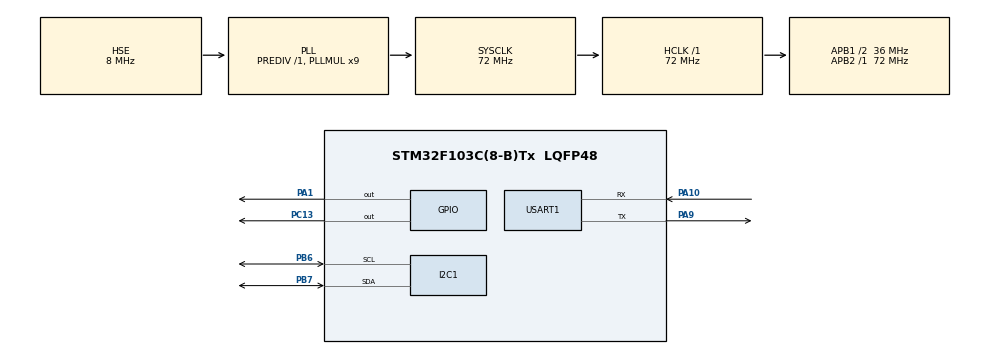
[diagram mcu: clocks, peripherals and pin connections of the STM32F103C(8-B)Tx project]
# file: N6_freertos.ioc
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Dma.Request0=USART1_RX
Dma.USART1_RX.0.Direction=DMA_PERIPH_TO_MEMORY
Dma.USART1_RX.0.Instance=DMA1_Channel5
Dma.USART1_RX.0.MemDataAlignment=DMA_MDATAALIGN_BYTE
Dma.USART1_RX.0.MemInc=DMA_MINC_ENABLE
Dma.USART1_RX.0.Mode=DMA_CIRCULAR
Dma.USART1_RX.0.PeriphDataAlignment=DMA_PDATAALIGN_BYTE
Dma.USART1_RX.0.PeriphInc=DMA_PINC_DISABLE
Dma.USART1_RX.0.Priority=DMA_PRIORITY_LOW
IWDG.Prescaler=IWDG_PRESCALER_64
IWDG.Reload=1250
Mcu.Family=STM32F1
Mcu.Name=STM32F103C(8-B)Tx
Mcu.Package=LQFP48
NVIC.DMA1_Channel5_IRQn=true\:5\:0\:true\:false\:true\:false\:true\:true
NVIC.PriorityGroup=NVIC_PRIORITYGROUP_4
NVIC.TIM4_IRQn=true\:15\:0\:false\:false\:true\:false\:true\:true
NVIC.TimeBase=TIM4_IRQn
NVIC.TimeBaseIP=TIM4
NVIC.USART1_IRQn=true\:6\:0\:true\:false\:true\:true\:true\:true
PA1.Signal=GPIO_Output
PA10.Mode=Asynchronous
PA10.Signal=USART1_RX
PA13.Mode=Serial_Wire
PA13.Signal=SYS_JTMS-SWDIO
PA14.Mode=Serial_Wire
PA14.Signal=SYS_JTCK-SWCLK
PA9.Mode=Asynchronous
PA9.Signal=USART1_TX
PB6.Mode=I2C
PB6.Signal=I2C1_SCL
PB7.Mode=I2C
PB7.Signal=I2C1_SDA
PC13-TAMPER-RTC.Signal=GPIO_Output
PD0-OSC_IN.Mode=HSE-External-Oscillator
PD0-OSC_IN.Signal=RCC_OSC_IN
PD1-OSC_OUT.Mode=HSE-External-Oscillator
PD1-OSC_OUT.Signal=RCC_OSC_OUT
ProjectManager.HeapSize=0x200
ProjectManager.StackSize=0x400
ProjectManager.TargetToolchain=CMake
RCC.AHBFreq_Value=72000000
RCC.APB1CLKDivider=RCC_HCLK_DIV2
RCC.APB1Freq_Value=36000000
RCC.APB1TimFreq_Value=72000000
RCC.APB2Freq_Value=72000000
RCC.APB2TimFreq_Value=72000000
RCC.HCLKFreq_Value=72000000
RCC.PLLMUL=RCC_PLL_MUL9
RCC.PLLSourceVirtual=RCC_PLLSOURCE_HSE
RCC.SYSCLKFreq_VALUE=72000000
RCC.SYSCLKSource=RCC_SYSCLKSOURCE_PLLCLK
RCC.USBFreq_Value=72000000
USART1.VirtualMode=VM_ASYNC
VP_IWDG_VS_IWDG.Mode=IWDG_Activate
VP_SYS_VS_tim4.Mode=TIM4
board=custom

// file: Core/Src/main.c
/* USER CODE BEGIN Header */
/**
  ******************************************************************************
  * @file           : main.c
  * @brief          : Main program body
  ******************************************************************************
  * @attention
  *
  * Copyright (c) 2026 STMicroelectronics.
  * All rights reserved.
  *
  * This software is licensed under terms that can be found in the LICENSE file
  * in the root directory of this software component.
  * If no LICENSE file comes with this software, it is provided AS-IS.
  *
  ******************************************************************************
  */
/* USER CODE END Header */
#include "main.h"
#include "dma.h"
#include "i2c.h"
#include "iwdg.h"
#include "usart.h"
#include "gpio.h"

/* USER CODE BEGIN Includes */
#include "FreeRTOS.h"
#include "task.h"
#include "queue.h"
#include "semphr.h"
#include "event_groups.h"
#include "bh1750.h"
#include "dht11.h"
#include "dwt_delay.h"
#include "stream_buffer.h"
#include "frame_parser.h"
#include "crc16.h"
#include <stdio.h>
#include <string.h>
/* USER CODE END Includes */

/* USER CODE BEGIN PTD */
typedef struct{
  uint8_t data[69];
  uint8_t len;
} TxFrame_t;

typedef struct {
  float temperature;
  float humidity;
  float lux;
  uint8_t lux_valid;
  uint8_t th_valid;
} SensorData_t;
/* USER CODE END PTD */

/* USER CODE BEGIN PD */
#define HEARTBEAT_MS  1000U
#define RX_STREAM_SIZE  64
#define RX_DMA_SIZE     64

/* N9-B 全员报到看门狗: 三个任务各占一 bit, 凑齐才喂狗 */
#define WDG_BIT_SAMPLE   (1u << 0)   /* vSampleReportTask 打卡 */
#define WDG_BIT_CMD      (1u << 1)   /* vCmdTask 打卡 */
#define WDG_BIT_TX       (1u << 2)   /* vTxTask 打卡 */
#define WDG_BIT_ALL      (WDG_BIT_SAMPLE | WDG_BIT_CMD | WDG_BIT_TX)
/* USER CODE END PD */

/* USER CODE BEGIN PV */
QueueHandle_t xTxQueue;
static SemaphoreHandle_t g_sensor_mutex;
static volatile uint32_t g_sample_period_ms = 5UL*60*1000;
static StreamBufferHandle_t g_rx_stream;
static uint8_t  g_rx_dma_buf[RX_DMA_SIZE];
static uint16_t g_rx_old_pos = 0;
static EventGroupHandle_t g_wdg_events;   /* N9-B 全员报到事件组 */

/* USER CODE END PV */

void SystemClock_Config(void);
/* USER CODE BEGIN PFP */
void vTxTask(void* pvParameters);
void vSampleReportTask(void *pv);
void vCmdTask(void *pv);

static uint8_t frame_build(uint8_t type, const uint8_t *payload, uint8_t payload_len, uint8_t *out);
static void sample_all(SensorData_t *out);
static void send_heartbeat(void);
static void report_frame(const SensorData_t *s);
static void send_resp(uint8_t type, const uint8_t *payload, uint8_t len, uint8_t seq);
static void on_frame(uint8_t type, const uint8_t *payload, uint8_t len);
/* USER CODE END PFP */

int main(void)
{

  /* MCU Configuration--------------------------------------------------------*/

  /* Reset of all peripherals, Initializes the Flash interface and the Systick. */
  HAL_Init();

  /* Configure the system clock */
  SystemClock_Config();

  /* Initialize all configured peripherals */
  MX_GPIO_Init();
  MX_DMA_Init();
  MX_USART1_UART_Init();
  MX_I2C1_Init();
  MX_IWDG_Init();
  /* USER CODE BEGIN 2 */
  /* 调试时冻结 IWDG 与 TIM4 计数, 避免暂停断点时被看门狗复位。
     F1 的 DBGMCU 属 Cortex-M3 调试域, 常通无 APB 时钟门, 故无需(也没有)
     __HAL_RCC_DBGMCU_CLK_ENABLE(); 两个 FREEZE 宏直接置位 DBGMCU->CR。 */
  __HAL_DBGMCU_FREEZE_IWDG();
  __HAL_DBGMCU_FREEZE_TIM4();

  /* 必须先开 DWT 周期计数器: delay_us() 与 dht11_wait_level() 的超时都靠 CYCCNT。
     不开则 CYCCNT 恒为 0, delay_us 死等、DHT11 超时永不触发 → DHT11_Read 在
     taskENTER_CRITICAL 临界区里死循环, SysTick 被屏蔽, 整个 RTOS 卡死, 串口零输出。 */
  DWT_Init();

  BH1750_Init();   /* 上电+设连续高分辨率模式(原来漏调,芯片处于不确定态) */

  xTxQueue = xQueueCreate(8, sizeof(TxFrame_t));
  if (xTxQueue == NULL) {Error_Handler();}

  g_sensor_mutex = xSemaphoreCreateMutex();
  if (g_sensor_mutex == NULL) { Error_Handler(); }

  g_rx_stream = xStreamBufferCreate(RX_STREAM_SIZE, 1);   // 水位 1: 来一字节就唤醒
  if (g_rx_stream == NULL) { Error_Handler(); }

  g_wdg_events = xEventGroupCreate();                      // N9-B: 全员报到事件组
  if (g_wdg_events == NULL) { Error_Handler(); }

  /* 创建任务并检查返回值: 堆不够(configTOTAL_HEAP_SIZE 太小)时会在此处停住,
     而不是任务静默创建失败、之后行为诡异。优先级: 命令(3) > TX(2) > 采样上报(1) */
  if (xTaskCreate(vTxTask, "Trans", configMINIMAL_STACK_SIZE * 2, NULL, 2, NULL) != pdPASS) { Error_Handler(); }
  if (xTaskCreate(vSampleReportTask, "Sample", configMINIMAL_STACK_SIZE * 3, NULL, 1, NULL) != pdPASS) { Error_Handler(); }
  if (xTaskCreate(vCmdTask, "Cmd", configMINIMAL_STACK_SIZE * 3, NULL, 3, NULL) != pdPASS) { Error_Handler(); }

  vTaskStartScheduler();
  /* USER CODE END 2 */

  /* Infinite loop */
  while (1)
  {

  }
}

void SystemClock_Config(void)
{
  RCC_OscInitTypeDef RCC_OscInitStruct = {0};
  RCC_ClkInitTypeDef RCC_ClkInitStruct = {0};

  /** Initializes the RCC Oscillators according to the specified parameters
  * in the RCC_OscInitTypeDef structure.
  */
  RCC_OscInitStruct.OscillatorType = RCC_OSCILLATORTYPE_LSI|RCC_OSCILLATORTYPE_HSE;
  RCC_OscInitStruct.HSEState = RCC_HSE_ON;
  RCC_OscInitStruct.HSEPredivValue = RCC_HSE_PREDIV_DIV1;
  RCC_OscInitStruct.HSIState = RCC_HSI_ON;
  RCC_OscInitStruct.LSIState = RCC_LSI_ON;
  RCC_OscInitStruct.PLL.PLLState = RCC_PLL_ON;
  RCC_OscInitStruct.PLL.PLLSource = RCC_PLLSOURCE_HSE;
  RCC_OscInitStruct.PLL.PLLMUL = RCC_PLL_MUL9;
  if (HAL_RCC_OscConfig(&RCC_OscInitStruct) != HAL_OK)
  {
    Error_Handler();
  }

  /** Initializes the CPU, AHB and APB buses clocks
  */
  RCC_ClkInitStruct.ClockType = RCC_CLOCKTYPE_HCLK|RCC_CLOCKTYPE_SYSCLK
                              |RCC_CLOCKTYPE_PCLK1|RCC_CLOCKTYPE_PCLK2;
  RCC_ClkInitStruct.SYSCLKSource = RCC_SYSCLKSOURCE_PLLCLK;
  RCC_ClkInitStruct.AHBCLKDivider = RCC_SYSCLK_DIV1;
  RCC_ClkInitStruct.APB1CLKDivider = RCC_HCLK_DIV2;
  RCC_ClkInitStruct.APB2CLKDivider = RCC_HCLK_DIV1;

  if (HAL_RCC_ClockConfig(&RCC_ClkInitStruct, FLASH_LATENCY_2) != HAL_OK)
  {
    Error_Handler();
  }
}

/* USER CODE BEGIN 4 */
void vTxTask(void* pvParameters) {
  TxFrame_t frame;
  while(1) {
    /* 超时 500ms 醒一次: 没东西发也要醒来打卡(<1s 判定窗口, 留余量)。 */
    if (xQueueReceive(xTxQueue, &frame, pdMS_TO_TICKS(800)) == pdPASS) {
      HAL_UART_Transmit(&huart1, frame.data, frame.len, HAL_MAX_DELAY);
    }
    xEventGroupSetBits(g_wdg_events, WDG_BIT_TX);   // 打卡放 if 外: 任务活着就报到, 不论有没有发
  }
}

/* ---- 命令任务私有状态: 上次处理过的 seq + 当时的应答(§6.2 幂等)----
   只有 on_frame(命令任务上下文)碰它们, 单线程, 无需加锁。 */
static uint8_t   g_last_seq      = 0;
static uint8_t   g_have_last_seq = 0;     /* 开机还没处理过任何命令 */
static TxFrame_t g_last_resp;

/* 组一帧应答投 TX 队列, 并存档供同 seq 重发时复发 */
static void send_resp(uint8_t type, const uint8_t *payload, uint8_t len, uint8_t seq)
{
    TxFrame_t f;
    f.len = frame_build(type, payload, len, f.data);
    xQueueSend(xTxQueue, &f, 0);
    g_last_resp = f;  g_last_seq = seq;  g_have_last_seq = 1;
}

/* 拼齐且 CRC 已校验的整帧到这。payload[0] = seq(§6.2) */
static void on_frame(uint8_t type, const uint8_t *payload, uint8_t len)
{
    if (len < 1) return;                  /* 无 payload 的帧无法应答, 丢 */
    uint8_t seq = payload[0];

    /* §6.2 幂等: 与上次 seq 相同 → 判重发, 不重复执行命令本体, 只补发上次应答 */
    if (g_have_last_seq && seq == g_last_seq) {
        xQueueSend(xTxQueue, &g_last_resp, 0);
        return;
    }

    switch (type) {
    case 0x20: {                          /* 查光照 → 现采 → 0x05 [seq][rc][光照2B] */
        SensorData_t s; sample_all(&s);
        if (s.lux_valid) {
            uint16_t lx = (uint16_t)(s.lux + 0.5f);
            uint8_t p[4] = { seq, 0x00, (uint8_t)(lx >> 8), (uint8_t)(lx & 0xFF) };
            send_resp(0x05, p, 4, seq);
        } else {
            uint8_t p[2] = { seq, 0x03 };          /* 0x03 暂不可用(读失败) */
            send_resp(0x05, p, 2, seq);
        }
        break;
    }
    case 0x21: {                          /* 查温湿度 → 现采 → 0x05 [seq][rc][温×10 2B][湿×10 2B] */
        SensorData_t s; sample_all(&s);
        if (s.th_valid) {
            uint16_t t = (uint16_t)(s.temperature * 10.0f + 0.5f);
            uint16_t h = (uint16_t)(s.humidity    * 10.0f + 0.5f);
            uint8_t p[6] = { seq, 0x00,
                             (uint8_t)(t >> 8), (uint8_t)(t & 0xFF),
                             (uint8_t)(h >> 8), (uint8_t)(h & 0xFF) };
            send_resp(0x05, p, 6, seq);
        } else {
            uint8_t p[2] = { seq, 0x03 };
            send_resp(0x05, p, 2, seq);
        }
        break;
    }
    case 0x22: {                          /* 设周期(秒)→ 校验 → 写 g_sample_period_ms → 0x06 [seq][rc] */
        uint8_t rc;
        if (len < 3) {
            rc = 0x01;                              /* 缺周期字节 → 参数非法 */
        } else {
            uint16_t period_s = (uint16_t)((payload[1] << 8) | payload[2]);
            if (period_s == 0) {
                rc = 0x01;                          /* §6.3: 周期=0 参数非法 */
            } else {
                g_sample_period_ms = (uint32_t)period_s * 1000U;   /* 秒 → ms */
                rc = 0x00;
            }
        }
        uint8_t p[2] = { seq, rc };
        send_resp(0x06, p, 2, seq);
        break;
    }
    default: {                            /* §6.3: 未知下行 / 收到上行 TYPE → rc=0x02 不支持 */
        uint8_t p[2] = { seq, 0x02 };
        send_resp(0x06, p, 2, seq);
        break;
    }
    }
}

void vCmdTask(void *pv)
{
    (void)pv;
    FrameParser parser;
    frame_parser_init(&parser, on_frame);

    HAL_UARTEx_ReceiveToIdle_DMA(&huart1, g_rx_dma_buf, RX_DMA_SIZE);  // 启动循环 DMA 接收

    uint8_t buf[32];
    for (;;) {
        /* 超时 500ms 醒一次: 没收到数据也要醒来打卡(<1s 判定窗口, 留余量)。 */
        size_t n = xStreamBufferReceive(g_rx_stream, buf, sizeof buf, pdMS_TO_TICKS(800));
        for (size_t i = 0; i < n; i++)
            frame_parser_feed(&parser, buf[i]);
        xEventGroupSetBits(g_wdg_events, WDG_BIT_CMD);   // n 可能为 0, 但任务活着就打卡
    }
}

static uint8_t frame_build(uint8_t type, const uint8_t *payload,
                           uint8_t payload_len, uint8_t *out)
{
    uint8_t n = 0;
    out[n++] = 0xAA;
    out[n++] = 0x55;
    out[n++] = (uint8_t)(1 + payload_len);            // LEN
    out[n++] = type;                                  // TYPE
    for (uint8_t i = 0; i < payload_len; i++)
        out[n++] = payload[i];                        // payload

    uint16_t crc = 0xFFFF;                            // 复用你的 crc16_update
    for (uint8_t i = 2; i < n; i++) {                 // out[2]=LEN 起, 覆盖 LEN+TYPE+payload
        crc = crc16_update(crc, out[i]);
    }

    out[n++] = (uint8_t)(crc & 0xFF);                 // CRC_LO(小端)
    out[n++] = (uint8_t)(crc >> 8);                   // CRC_HI
    return n;
}

static void sample_all(SensorData_t *out)
{
    SensorData_t s = {0};                              // 本次局部快照, 两 valid 默认 0

    xSemaphoreTake(g_sensor_mutex, portMAX_DELAY);
    float   lux = BH1750_ReadLux();
    uint8_t dht[5];
    uint8_t ok  = DHT11_Read(dht);
    xSemaphoreGive(g_sensor_mutex);                    // 读完立刻放锁, 解析在锁外

    if (ok == 0)     { s.temperature = dht[2]; s.humidity = dht[0]; s.th_valid = 1; }
    if (lux >= 0.0f) { s.lux = lux; s.lux_valid = 1; }
    *out = s;
}

static void send_heartbeat(void)
{
    TxFrame_t f;
    f.len = frame_build(0x03, NULL, 0, f.data);        // NULL+0: 内部循环零次, 安全
    xQueueSend(xTxQueue, &f, 0);                        // 满则丢
}

static void report_frame(const SensorData_t *s)
{
    TxFrame_t f;

    if (s->th_valid) {
        uint16_t t = (uint16_t)(s->temperature * 10.0f + 0.5f);  // +0.5f: 截断前四舍五入
        uint16_t h = (uint16_t)(s->humidity    * 10.0f + 0.5f);
        uint8_t  p[5];
        p[0] = (uint8_t)(t >> 8);  p[1] = (uint8_t)(t & 0xFF);   // 温度 大端
        p[2] = (uint8_t)(h >> 8);  p[3] = (uint8_t)(h & 0xFF);   // 湿度 大端
        p[4] = (uint8_t)(p[0] + p[1] + p[2] + p[3]);             // 校验位: 网关只验 CRC16, 此字节不解析(占位)
        f.len = frame_build(0x01, p, 5, f.data);
        xQueueSend(xTxQueue, &f, 0);
    }

    if (s->lux_valid) {
        float lf = s->lux;
        if (lf < 0.0f)     lf = 0.0f;
        if (lf > 65535.0f) lf = 65535.0f;              // u16 封顶
        uint16_t lx = (uint16_t)(lf + 0.5f);           // 400.x -> 400
        uint8_t  p[2];
        p[0] = (uint8_t)(lx >> 8);  p[1] = (uint8_t)(lx & 0xFF); // 光照 大端
        f.len = frame_build(0x02, p, 2, f.data);
        xQueueSend(xTxQueue, &f, 0);
    }

    /* 0x04 设备状态: 无条件发, 跟随采样轮, 复用本轮 valid 标志 (§3.3 TYPE 字典)
    bit0=DHT11 OK, bit1=BH1750 OK, bit2~7 预留=0
    即便上面两帧都没发(传感器全挂), 这帧也要出去, 让网关知道"节点在, 但外设故障" */
    {
        uint8_t st = (uint8_t)((s->th_valid ? 0x01 : 0x00) |
                               (s->lux_valid ? 0x02 : 0x00));
        f.len = frame_build(0x04, &st, 1, f.data);
        xQueueSend(xTxQueue, &f, 0);
    }
}

void vSampleReportTask(void *pv)
{
    (void)pv;
    TickType_t last_wake = xTaskGetTickCount();   // 基准时刻
    uint32_t   since_sample_ms = 0xFFFFFFFFU;     // 置满, 开机第一轮就采

    for (;;) {
        /* N9-B: 先给自己打卡, 再判定三位是否全齐 —— 顺序不能反, 否则自己这位永远缺。 */
        xEventGroupSetBits(g_wdg_events, WDG_BIT_SAMPLE);
        if ((xEventGroupGetBits(g_wdg_events) & WDG_BIT_ALL) == WDG_BIT_ALL) {
            HAL_IWDG_Refresh(&hiwdg);                        // 三个任务都报到 → 喂狗
            xEventGroupClearBits(g_wdg_events, WDG_BIT_ALL); // 清零, 开新一轮收集
        }
        /* 没齐 → 不喂, 放任 IWDG 倒计时(~2s 后复位) */

        send_heartbeat();                          // 每个 1s 节拍发心跳

        if (since_sample_ms >= g_sample_period_ms) {
            SensorData_t s;
            sample_all(&s);
            report_frame(&s);
            since_sample_ms = 0;
        }

        vTaskDelayUntil(&last_wake, pdMS_TO_TICKS(HEARTBEAT_MS));  // 绝对 1s 栅格
        since_sample_ms += HEARTBEAT_MS;
    }
}

void HAL_UARTEx_RxEventCallback(UART_HandleTypeDef *huart, uint16_t Size)
{
    if (huart->Instance != USART1) return;

    BaseType_t woken = pdFALSE;
    if (Size != g_rx_old_pos) {
        if (Size > g_rx_old_pos) {                         // 未回绕: [old_pos, Size)
            xStreamBufferSendFromISR(g_rx_stream,
                &g_rx_dma_buf[g_rx_old_pos], Size - g_rx_old_pos, &woken);
        } else {                                           // 回绕: [old_pos, 末尾) + [0, Size)
            xStreamBufferSendFromISR(g_rx_stream,
                &g_rx_dma_buf[g_rx_old_pos], RX_DMA_SIZE - g_rx_old_pos, &woken);
            if (Size > 0)
                xStreamBufferSendFromISR(g_rx_stream,
                    &g_rx_dma_buf[0], Size, &woken);
        }
        g_rx_old_pos = Size;
        if (g_rx_old_pos >= RX_DMA_SIZE) g_rx_old_pos = 0;
    }
    portYIELD_FROM_ISR(woken);
}
/* USER CODE END 4 */

void HAL_TIM_PeriodElapsedCallback(TIM_HandleTypeDef *htim)
{
  if (htim->Instance == TIM4)
  {
    HAL_IncTick();
  }
}

void Error_Handler(void)
{
  __disable_irq();
  while (1)
  {
  }
}
